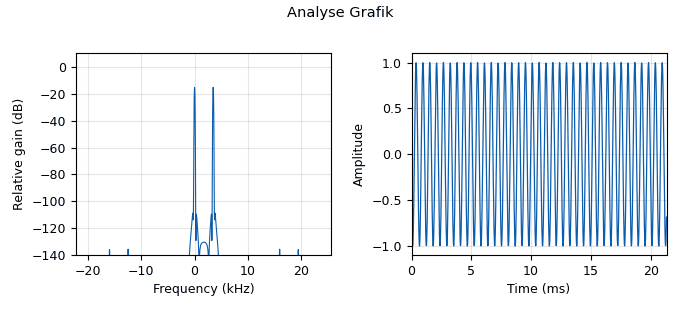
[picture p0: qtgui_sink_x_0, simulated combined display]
options:
  parameters:
    generate_options: qt_gui
    id: first_step
    output_language: python
    title: Audio Funktion
  states: {}

blocks:
- name: samp_rate
  id: variable
  parameters:
    value: '48000'
  states: {}
- name: analog_sig_source_x_0
  id: analog_sig_source_x
  parameters:
    amp: '1'
    freq: '1750'
    offset: '0'
    phase: '0'
    samp_rate: samp_rate
    type: float
    waveform: analog.GR_COS_WAVE
  states: {}
- name: audio_sink_0
  id: audio_sink
  parameters:
    device_name: default
    samp_rate: samp_rate
  states: {}
- name: qtgui_sink_x_0
  id: qtgui_sink_x
  parameters:
    bw: samp_rate
    fc: '1750'
    fftsize: '1024'
    name: Analyse Grafik
    rate: '5'
    type: float
  states: {}

connections:
- [analog_sig_source_x_0, '0', audio_sink_0, '0']
- [analog_sig_source_x_0, '0', qtgui_sink_x_0, '0']

metadata:
  file_format: 1
  grc_version: 3.10.9.2
